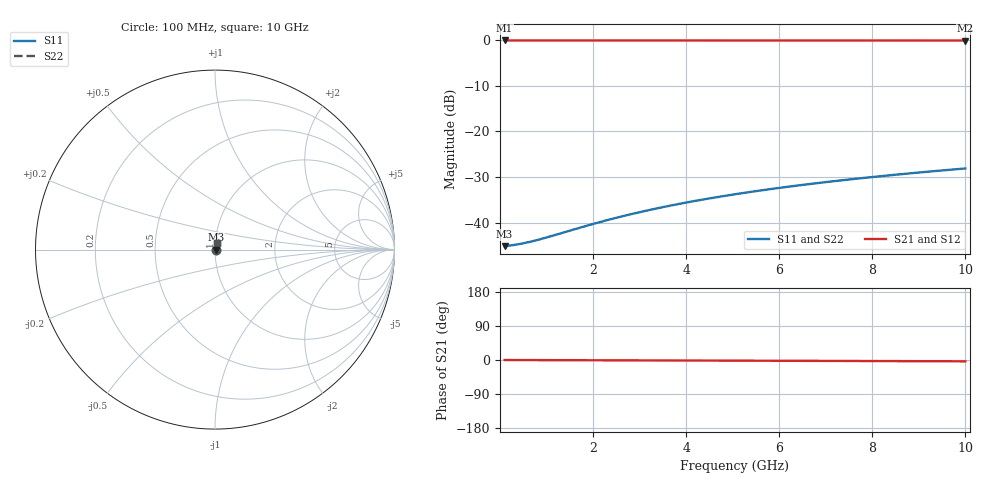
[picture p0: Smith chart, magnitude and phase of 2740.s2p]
# Hz S RI R 50.00
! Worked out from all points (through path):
!   100 points, 100 MHz to 10 GHz, reference 50 ohm
!   highest |S21| = -0.05 dB at 100 MHz (marker M1); lowest = -0.1 dB at 10 GHz (marker M2)
!   lowest |S11| = -45.2 dB at 100 MHz (marker M3), VSWR 1.01, Z = 50.6 + j0.039 ohm
!   |S11| at or under -10 dB: start of sweep to end of sweep
!   |S22| runs from -45.2 to -28.1 dB; largest |S21 - S12| = 1e-14
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1e8  0.00551 0.000385  0.9945 -0.000599  0.9945 -0.000599  0.00551 0.000385
3e8  0.00557 0.00116  0.9944 -0.0018  0.9944 -0.0018  0.00557 0.00116
4e8  0.0056 0.00154  0.9944 -0.00239  0.9944 -0.00239  0.0056 0.00154
5e8  0.00562 0.00193  0.9944 -0.00299  0.9944 -0.00299  0.00562 0.00193
7e8  0.00565 0.0027  0.9943 -0.00419  0.9943 -0.00419  0.00565 0.0027
1e9  0.0057 0.00385  0.9943 -0.00599  0.9943 -0.00599  0.0057 0.00385
1.8e9  0.00582 0.00693  0.9942 -0.0108  0.9942 -0.0108  0.00582 0.00693
2.2e9  0.00588 0.00847  0.9941 -0.0132  0.9941 -0.0132  0.00588 0.00847
2.6e9  0.00595 0.01  0.994 -0.0156  0.994 -0.0156  0.00595 0.01
3e9  0.00602 0.0115  0.9939 -0.018  0.9939 -0.018  0.00602 0.0115
3.4e9  0.0061 0.0131  0.9939 -0.0203  0.9939 -0.0203  0.0061 0.0131
3.8e9  0.00619 0.0146  0.9938 -0.0227  0.9938 -0.0227  0.00619 0.0146
4.2e9  0.00628 0.0162  0.9937 -0.0251  0.9937 -0.0251  0.00628 0.0162
4.6e9  0.00637 0.0177  0.9936 -0.0275  0.9936 -0.0275  0.00637 0.0177
5.1e9  0.00651 0.0196  0.9934 -0.0305  0.9934 -0.0305  0.00651 0.0196
5.5e9  0.00662 0.0212  0.9933 -0.0329  0.9933 -0.0329  0.00662 0.0212
5.9e9  0.00674 0.0227  0.9932 -0.0353  0.9932 -0.0353  0.00674 0.0227
6.7e9  0.007 0.0258  0.9929 -0.0401  0.9929 -0.0401  0.007 0.0258
7.5e9  0.00729 0.0288  0.9926 -0.0448  0.9926 -0.0448  0.00729 0.0288
8.4e9  0.00765 0.0323  0.9922 -0.0502  0.9922 -0.0502  0.00765 0.0323
9.2e9  0.008 0.0353  0.9918 -0.055  0.9918 -0.055  0.008 0.0353
1e10  0.00838 0.0384  0.9914 -0.0598  0.9914 -0.0598  0.00838 0.0384
